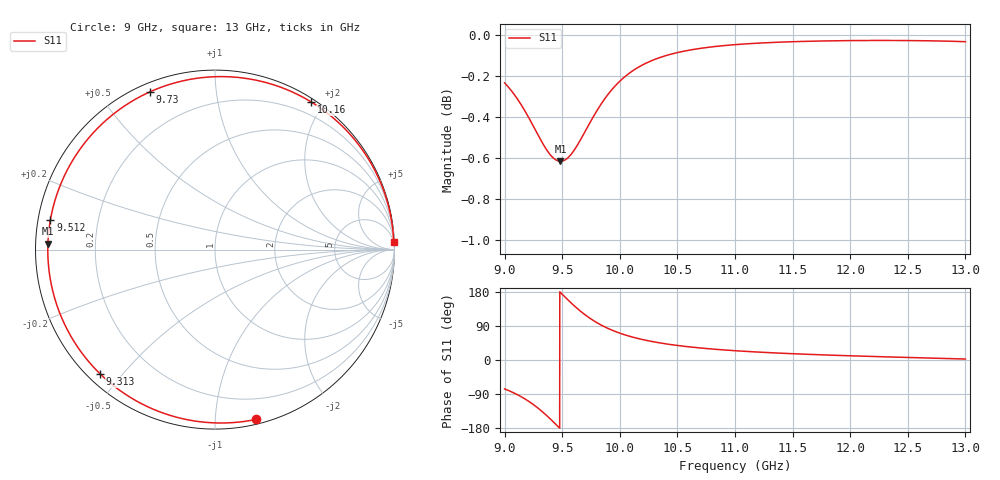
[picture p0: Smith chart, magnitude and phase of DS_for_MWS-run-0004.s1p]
! TOUCHSTONE file generated by CST DESIGN STUDIO
! Date and time: Tue Feb  4 12:53:51 2025
! Project name: C:\Work\MatlabApps\UnitCellOptimizationMatlab\CST\unitcell.cst
! Tree item: Tasks\Sweep1\SPara1\S-Parameters
! Header version: 2024
! Port assignment regex: !\s*Touchstone port\s*([0-9]+)\s*=\s*(CST MWS port|CST DES external port|CST DES block port)\s*(.+)\s* \(\"(.*)\"\)(\s*mode\s*([0-9]+))?.*
! Touchstone port assignment:
! Touchstone port 1 = CST DES external port 1 ("")
# GHz S MA R 50
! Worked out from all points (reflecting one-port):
!   4001 points, 9 GHz to 13 GHz, reference 50 ohm
!   lowest |S11| = -0.6 dB at 9.485 GHz (marker M1), VSWR 28.26, Z = 1.77 + j0.863 ohm
!   phase of S11 starts at -76 deg and turns -281 deg over the sweep
!   S11 on the Smith chart (normalised r, x): 9 GHz: 0.04, -1.27; 9.313 GHz: 0.04, -0.44; 9.512 GHz: 0.04, +0.09; 9.73 GHz: 0.04, +0.67; 10.16 GHz: 0.04, +1.85; 13 GHz: 4, +45
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9  0.9734 -76.3
9.08  0.9674 -86.8
9.179  0.958 -103.2
9.248  0.9503 -117.2
9.313  0.9429 -132.7
9.358  0.9383 -144.6
9.406  0.9344 -158.3
9.446  0.9323 -170.2
9.485  0.9316 178.0
9.5  0.9317 173.5
9.512  0.932 169.8
9.565  0.9344 154.1
9.625  0.9394 137.5
9.677  0.9449 124.3
9.73  0.9508 112.4
9.784  0.9566 101.6
9.844  0.9626 91.3
9.921  0.969 80.2
10  0.9743 70.8
10.157  0.9818 56.8
10.313  0.9865 46.9
10.5  0.9901 38.4
10.722  0.9926 31.1
11  0.9945 24.5
11.5  0.9961 16.6
12  0.9967 11.1
12.5  0.9968 6.7
13  0.9961 2.5
